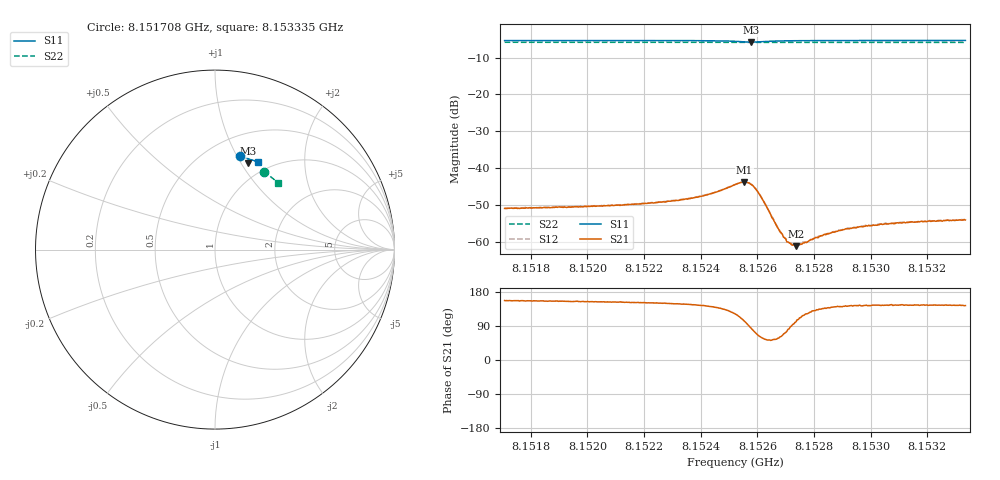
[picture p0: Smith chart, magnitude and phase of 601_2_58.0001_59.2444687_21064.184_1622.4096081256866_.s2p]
#  HZ  S  RI  R  50.00
! Rohde & Schwarz Vector Network Analyzer
! Rohde-Schwarz,ZNB20-2Port,1311601062101988,3.16
! Created: UTC 3/21/2024, 1:17:14 AM
! freq[Hz]  re:S11  im:S11  re:S21  im:S21  re:S12  im:S12  re:S22  im:S22
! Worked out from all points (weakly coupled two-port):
!   401 points, 8.151708 GHz to 8.153335 GHz, reference 50 ohm
!   highest |S21| = -43.82 dB at 8.152554 GHz (marker M1); lowest = -61.3 dB at 8.152737 GHz (marker M2)
!   lowest |S11| = -5.8 dB at 8.152578 GHz (marker M3), VSWR 3.12, Z = 41.1 + j53.7 ohm
!   |S11| at or under -10 dB: nowhere
!   |S22| runs from -5.8 to -5.8 dB; largest |S21 - S12| = 0.00013
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8.1517077e9  0.1378 0.5222  -0.00259 0.0011  -0.00259 0.00115  0.2714 0.4344
8.1519802e9  0.157 0.5172  -0.00269 0.00129  -0.00267 0.00136  0.2859 0.4244
8.152147e9  0.1689 0.5134  -0.00283 0.00148  -0.00281 0.0015  0.2945 0.4185
8.1522527e9  0.1769 0.5107  -0.00299 0.00171  -0.00297 0.00171  0.3001 0.4142
8.15233e9  0.183 0.508  -0.00313 0.00198  -0.00313 0.00203  0.3039 0.4112
8.1524032e9  0.1894 0.5045  -0.00334 0.00245  -0.00336 0.0025  0.3077 0.4082
8.1524561e9  0.1945 0.5002  -0.00355 0.00312  -0.00352 0.00319  0.3102 0.406
8.1525212e9  0.1986 0.4892  -0.00313 0.00504  -0.00307 0.00511  0.3134 0.4032
8.1525537e9  0.1938 0.4812  -0.00143 0.00628  -0.0014 0.00634  0.3145 0.4017
8.1525781e9  0.1851 0.4802  0.000653 0.00596  0.000747 0.006  0.3154 0.4008
8.1525944e9  0.1802 0.4838  0.00167 0.0049  0.00172 0.00494  0.3161 0.4003
8.1526106e9  0.1785 0.489  0.00203 0.00367  0.0021 0.00369  0.3169 0.4
8.1526716e9  0.1858 0.5  0.000844 0.0013  0.000877 0.0013  0.3202 0.3979
8.1527001e9  0.19 0.5014  0.000329 0.00105  0.000335 0.00103  0.3216 0.3966
8.1527164e9  0.1921 0.5015  4.1e-05 0.000945  0.000105 0.000939  0.3225 0.3961
8.1527367e9  0.1946 0.5016  -0.000166 0.000849  -0.000188 0.000869  0.3235 0.3952
8.1527652e9  0.1978 0.5014  -0.00045 0.00084  -0.000437 0.000881  0.325 0.3941
8.1527937e9  0.2005 0.5009  -0.000678 0.000817  -0.000662 0.000833  0.3264 0.393
8.1528425e9  0.2049 0.5  -0.000892 0.000859  -0.000946 0.000861  0.3289 0.3908
8.1529116e9  0.2106 0.4983  -0.00118 0.000896  -0.00113 0.000949  0.3321 0.3879
8.1530662e9  0.2219 0.4942  -0.00143 0.00101  -0.00144 0.00102  0.3394 0.3813
8.1533346e9  0.2398 0.4864  -0.00158 0.00116  -0.0016 0.00114  0.3517 0.3695
